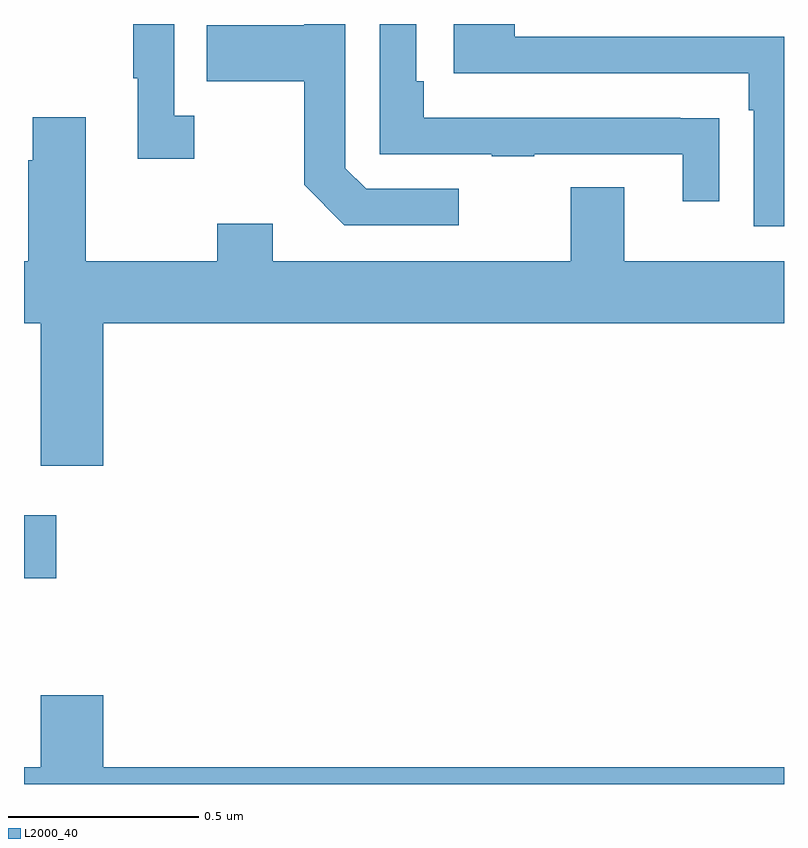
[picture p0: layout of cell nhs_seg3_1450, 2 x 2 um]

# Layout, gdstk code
import gdstk
lib = gdstk.Library(unit=1e-6, precision=1e-09)
def R(c, l, rs):  # rectangles x0, y0, x1, y1
    for r in rs: c.add(gdstk.rectangle(r[:2], r[2:], *l))
def P(c, l, *ps):  # polygons
    for p in ps: c.add(gdstk.Polygon(p, *l))
L2000_40 = (2000, 40)

nhs_seg3_1450 = lib.new_cell('nhs_seg3_1450')
R(nhs_seg3_1450, L2000_40, [(129,670.942,129.085,671.107)])
P(nhs_seg3_1450, L2000_40, [(129.448,672.158),(129.396,672.158),(129.396,672.4),(129.288,672.4),(129.288,672.257),(129.299,672.257),(129.299,672.045),(129.448,672.045)],
  [(130.829,672.152),(130.727,672.152),(130.727,672.153),(130.052,672.153),(130.052,672.25),(130.032,672.25),(130.032,672.4),(129.936,672.4),(129.936,672.057),(130.231,672.057),(130.231,672.052),(130.343,672.052),(130.343,672.057),(130.733,672.057),(130.733,671.934),(130.829,671.934)],
  [(131,672.366),(130.292,672.366),(130.292,672.4),(130.131,672.4),(130.131,672.27),(130.907,672.27),(130.907,672.173),(130.92,672.173),(130.92,671.868),(131,671.868)],
  [(130.144,671.967),(129.9,671.967),(129.846,672.021),(129.846,672.4),(129.738,672.4),(129.738,672.397),(129.481,672.397),(129.481,672.25),(129.738,672.25),(129.738,671.977),(129.843,671.871),(130.144,671.871)],
  [(129.208,671.612),(131,671.612),(131,671.776),(130.579,671.776),(130.579,671.971),(130.439,671.971),(130.439,671.776),(129.655,671.776),(129.655,671.875),(129.508,671.875),(129.508,671.776),(129.163,671.776),(129.163,672.154),(129.023,672.154),(129.023,672.041),(129.011,672.041),(129.011,671.776),(129,671.776),(129,671.612),(129.044,671.612),(129.044,671.238),(129.208,671.238)],
  [(131,670.444),(129.208,670.444),(129.208,670.633),(129.044,670.633),(129.044,670.444),(129,670.444),(129,670.4),(131,670.4)])

lib.write_gds('nhs_seg3_1450.gds')
